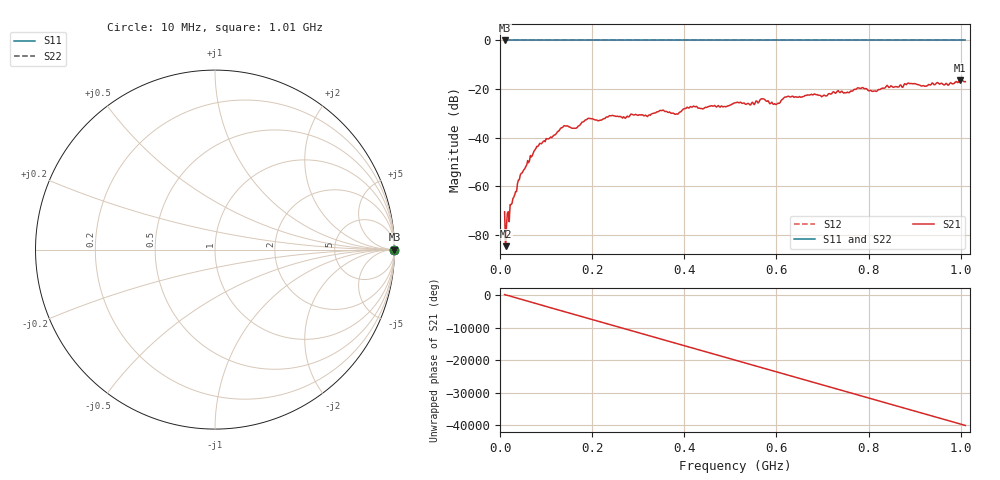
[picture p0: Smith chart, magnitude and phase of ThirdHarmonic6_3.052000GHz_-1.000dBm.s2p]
! 8/17/2025 8:52:14 AM
! C:\ANRITSUVNA\TEMP\TEMP.S2P
! CHANNEL.1
! TR.MEASUREMENT
! RAW.DATA
! RF.CORRECTION.OFF
! AVERAGING.OFF
! IF.BANDWIDTH: 5KHZ
! SWEEPTYPE:  FREQ.SWEEP(Linear)
! Reference Plane Port Info
! PORT:  PORT1  PORT2
! DISTANCE:  0  m  0  m
! TIME:  0  s  0  s
! PHASE.OFFSET:  0  deg.  0  deg.
! LOSS:  0  dB  0  dB
! REF.LOSS:  0  dB  0  dB
! REF.FREQ:  0  Hz  0  Hz
! Power Info
! POWER:  -20  dBm  -20  dBm
! EFF.POWER:  -20  dBm  -20  dBm
! SOURCE.ATTEN:  0  dB  0  dB
! TEST.ATTEN:  0  dB  0  dB
# GHZ S RI R 50.0
! FREQ.GHZ  S11RE  S11IM  S21RE  S21IM  S12RE  S12IM  S22RE  S22IM
!; PortSelection: Port_12
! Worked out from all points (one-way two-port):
!   501 points, 10 MHz to 1.01 GHz, reference 50 ohm
!   highest |S21| = -16.33 dB at 998 MHz (marker M1); lowest = -84.6 dB at 12 MHz (marker M2)
!   lowest |S11| = 0.0 dB at 10 MHz (marker M3)
!   |S11| at or under -10 dB: nowhere
!   |S22| runs from 0.0 to 0.0 dB; largest |S21 - S12| = 1.1
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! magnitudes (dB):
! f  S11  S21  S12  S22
! 10 MHz  0.0  -70.4  0.0  0.0
! 12 MHz  0.0  -84.6  0.0  0.0
! 16 MHz  0.0  -70.9  0.0  0.0
! 20 MHz  0.0  -74.5  0.0  0.0
! 42 MHz  0.0  -57.3  0.0  0.0
! 82 MHz  0.0  -43.6  0.0  0.0
! 136 MHz  0.0  -35.7  0.0  0.0
! 162 MHz  0.0  -36.1  0.0  0.0
! 178 MHz  0.0  -33.6  0.0  0.0
! 344 MHz  0.0  -29.2  0.0  0.0
! 382 MHz  0.0  -30.3  0.0  0.0
! 416 MHz  0.0  -27.4  0.0  0.0
! 510 MHz  0.0  -25.7  0.0  0.0
! 570 MHz  0.0  -24.0  0.0  0.0
! 598 MHz  0.0  -26.3  0.0  0.0
! 622 MHz  0.0  -23.1  0.0  0.0
! 678 MHz  0.0  -22.4  0.0  0.0
! 780 MHz  0.0  -19.6  0.0  0.0
! 814 MHz  0.0  -20.8  0.0  0.0
! 844 MHz  0.0  -19.3  0.0  0.0
! 998 MHz  0.0  -16.3  0.0  0.0
! 1.01 GHz  0.0  -16.9  0.0  0.0
